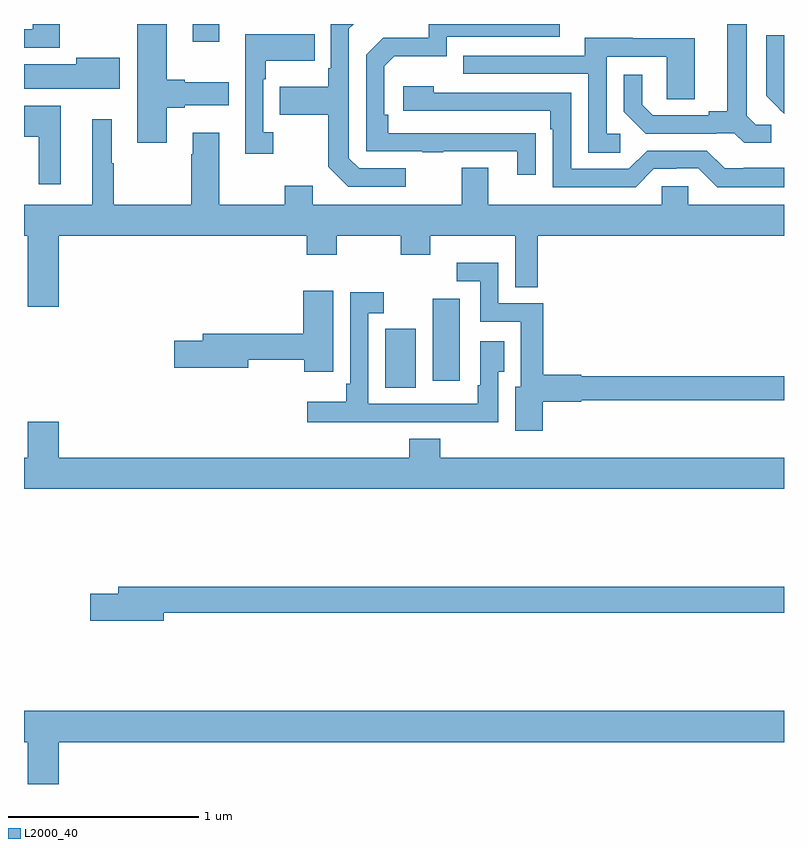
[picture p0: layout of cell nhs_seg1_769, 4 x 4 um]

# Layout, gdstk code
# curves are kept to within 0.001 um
import gdstk
lib = gdstk.Library(unit=1e-6, precision=1e-09)
def R(c, l, rs):  # rectangles x0, y0, x1, y1
    for r in rs: c.add(gdstk.rectangle(r[:2], r[2:], *l))
def P(c, l, *ps):  # polygons
    for p in ps: c.add(gdstk.Polygon(p, *l))
L2000_40 = (2000, 40)

nhs_seg1_769 = lib.new_cell('nhs_seg1_769')
R(nhs_seg1_769, L2000_40, [(154.901,532.285,155.062,532.596), (155.15,532.322,155.293,532.753), (153.887,534.105,154.027,534.199)])
P(nhs_seg1_769, L2000_40, [(156.934,533.67),(156.852,533.67),(156.805,533.717),(156.805,534.199),(156.701,534.199),(156.701,533.741),(156.605,533.741),(156.605,533.718),(156.31,533.718),(156.253,533.775),(156.253,533.932),(156.156,533.932),(156.156,533.738),(156.272,533.622),(156.644,533.622),(156.644,533.625),(156.738,533.625),(156.79,533.573),(156.934,533.573)],
  [(153.751,533.759),(153.847,533.759),(153.847,533.771),(154.078,533.771),(154.078,533.893),(153.847,533.893),(153.847,533.906),(153.751,533.906),(153.751,534.199),(153.596,534.199),(153.596,533.574),(153.751,533.574)],
  [(155.693,533.624),(154.916,533.625),(154.916,533.722),(154.896,533.722),(154.896,533.976),(154.949,534.029),(155.226,534.029),(155.226,534.132),(155.821,534.132),(155.821,534.199),(155.13,534.199),(155.13,534.126),(154.89,534.126),(154.8,534.036),(154.8,533.529),(155.095,533.529),(155.095,533.524),(155.207,533.524),(155.207,533.529),(155.597,533.529),(155.597,533.406),(155.693,533.406)],
  [(155.008,533.439),(154.764,533.439),(154.71,533.493),(154.71,534.174),(154.735,534.199),(154.614,534.199),(154.614,533.965),(154.602,533.965),(154.602,533.869),(154.345,533.869),(154.345,533.722),(154.602,533.722),(154.602,533.449),(154.707,533.343),(155.008,533.343)],
  [(153.187,534.199),(153.047,534.199),(153.047,534.171),(153,534.171),(153,534.075),(153.187,534.075)],
  [(154.312,533.63),(154.26,533.63),(154.26,533.909),(154.273,533.909),(154.273,534.005),(154.529,534.005),(154.529,534.145),(154.164,534.145),(154.164,533.517),(154.312,533.517)],
  [(157,534.14),(156.906,534.14),(156.906,533.822),(156.979,533.749),(156.978,533.748),(157,533.726)],
  [(156.139,533.622),(156.066,533.622),(156.066,534.027),(156.384,534.027),(156.384,533.803),(156.529,533.803),(156.529,534.123),(156.205,534.123),(156.205,534.127),(155.951,534.127),(155.951,534.033),(155.311,534.033),(155.311,533.937),(155.97,533.937),(155.97,533.521),(156.139,533.521)],
  [(153.505,534.022),(153.275,534.022),(153.275,533.986),(153,533.986),(153,533.858),(153.505,533.858)],
  [(157,533.443),(156.787,533.443),(156.787,533.439),(156.687,533.439),(156.594,533.532),(156.279,533.532),(156.183,533.436),(155.88,533.436),(155.88,533.838),(155.156,533.838),(155.156,533.872),(154.995,533.872),(154.995,533.742),(155.771,533.742),(155.771,533.645),(155.784,533.645),(155.784,533.34),(156.219,533.34),(156.315,533.436),(156.434,533.436),(156.434,533.439),(156.549,533.439),(156.649,533.339),(157,533.339)],
  [(153.193,533.77),(153,533.77),(153,533.606),(153.077,533.606),(153.077,533.355),(153.193,533.355)],
  [(153.184,533.084),(154.487,533.084),(154.487,532.985),(154.647,532.985),(154.647,533.084),(154.984,533.084),(154.984,532.985),(155.139,532.985),(155.139,533.084),(155.585,533.084),(155.585,532.813),(155.704,532.813),(155.704,533.084),(157,533.084),(157,533.248),(156.495,533.248),(156.495,533.346),(156.357,533.346),(156.357,533.248),(155.443,533.248),(155.443,533.443),(155.303,533.443),(155.303,533.248),(154.519,533.248),(154.519,533.347),(154.372,533.347),(154.372,533.248),(154.027,533.248),(154.027,533.626),(153.887,533.626),(153.887,533.513),(153.88,533.513),(153.88,533.248),(153.473,533.248),(153.473,533.465),(153.463,533.465),(153.463,533.698),(153.359,533.698),(153.359,533.248),(153,533.248),(153,533.084),(153.02,533.084),(153.02,532.71),(153.184,532.71)],
  [(155.729,532.21),(155.934,532.21),(155.934,532.218),(157,532.218),(157,532.346),(155.934,532.346),(155.934,532.354),(155.734,532.354),(155.734,532.728),(155.496,532.728),(155.496,532.942),(155.277,532.942),(155.277,532.845),(155.4,532.845),(155.4,532.632),(155.615,532.632),(155.615,532.291),(155.585,532.291),(155.585,532.059),(155.729,532.059)],
  [(154.627,532.795),(154.469,532.795),(154.469,532.568),(153.941,532.568),(153.941,532.532),(153.792,532.532),(153.792,532.39),(154.18,532.39),(154.18,532.432),(154.474,532.432),(154.474,532.368),(154.627,532.368)],
  [(154.909,532.104),(155.275,532.104),(155.275,532.103),(155.496,532.103),(155.496,532.369),(155.527,532.369),(155.527,532.528),(155.4,532.528),(155.4,532.297),(155.388,532.297),(155.388,532.2),(154.812,532.2),(154.812,532.677),(154.894,532.677),(154.894,532.786),(154.716,532.786),(154.716,532.306),(154.696,532.306),(154.696,532.21),(154.491,532.21),(154.491,532.103),(154.909,532.103)],
  [(157,531.916),(155.192,531.916),(155.192,532.015),(155.027,532.015),(155.027,531.916),(153.184,531.916),(153.184,532.105),(153.02,532.105),(153.02,531.916),(153,531.916),(153,531.752),(157,531.752)],
  [(153.736,531.1),(157,531.1),(157,531.236),(153.497,531.236),(153.497,531.2),(153.348,531.2),(153.348,531.058),(153.736,531.058)],
  [(153.184,530.42),(157,530.42),(157,530.584),(153,530.584),(153,530.42),(153.02,530.42),(153.02,530.199),(153.184,530.199)])

lib.write_gds('nhs_seg1_769.gds')
